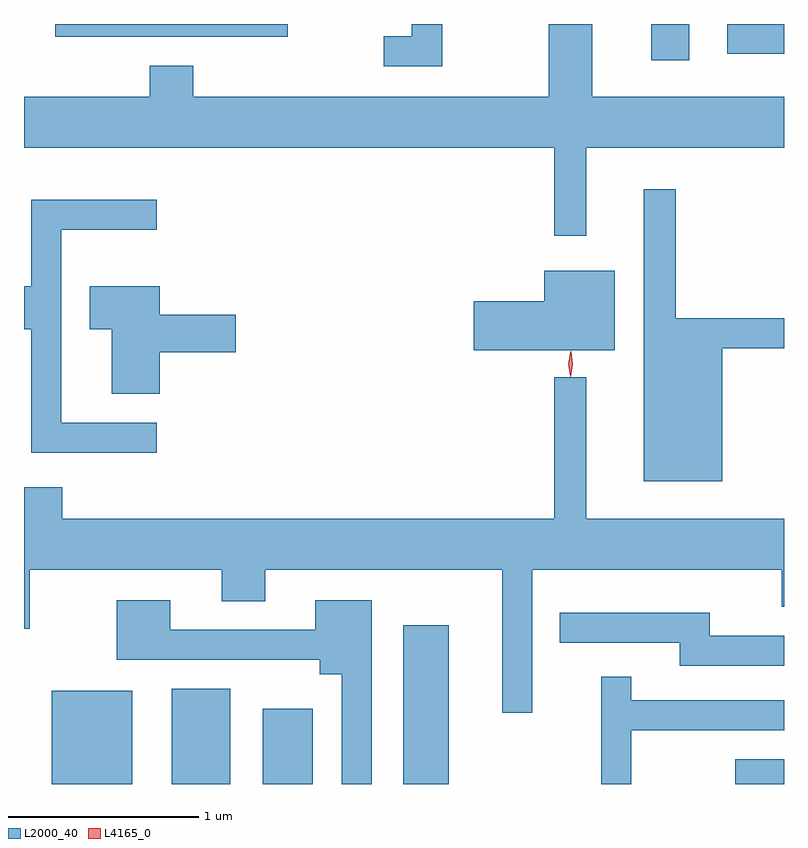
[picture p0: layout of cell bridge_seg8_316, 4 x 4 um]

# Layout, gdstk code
import gdstk
lib = gdstk.Library(unit=1e-6, precision=1e-09)
def R(c, l, rs):  # rectangles x0, y0, x1, y1
    for r in rs: c.add(gdstk.rectangle(r[:2], r[2:], *l))
def P(c, l, *ps):  # polygons
    for p in ps: c.add(gdstk.Polygon(p, *l))
L2000_40 = (2000, 40)
L4165_0 = (4165, 0)

bridge_seg8_316 = lib.new_cell('bridge_seg8_316')
R(bridge_seg8_316, L2000_40, [(1016.716,1939.628,1017.139,1940.119), (1017.346,1939.628,1017.654,1940.129), (1017.826,1939.628,1018.089,1940.024), (1018.566,1939.628,1018.804,1940.464), (1020.313,1939.628,1020.569,1939.759), (1019.871,1943.436,1020.069,1943.628), (1020.271,1943.471,1020.569,1943.628), (1016.733,1943.561,1017.958,1943.628)])
P(bridge_seg8_316, L2000_40, [(1018.769,1943.628),(1018.611,1943.628),(1018.611,1943.564),(1018.463,1943.564),(1018.463,1943.406),(1018.769,1943.406)],
  [(1019.529,1942.976),(1020.569,1942.976),(1020.569,1943.244),(1019.559,1943.244),(1019.559,1943.628),(1019.331,1943.628),(1019.331,1943.244),(1017.459,1943.244),(1017.459,1943.409),(1017.231,1943.409),(1017.231,1943.244),(1016.569,1943.244),(1016.569,1942.976),(1019.361,1942.976),(1019.361,1942.513),(1019.529,1942.513)],
  [(1020.244,1941.921),(1020.569,1941.921),(1020.569,1942.079),(1019.999,1942.079),(1019.999,1942.758),(1019.831,1942.758),(1019.831,1941.221),(1020.244,1941.221)],
  [(1017.268,1941.529),(1016.764,1941.529),(1016.764,1942.546),(1017.268,1942.546),(1017.268,1942.704),(1016.606,1942.704),(1016.606,1942.249),(1016.569,1942.249),(1016.569,1942.021),(1016.606,1942.021),(1016.606,1941.371),(1017.268,1941.371)],
  [(1019.679,1942.329),(1019.306,1942.329),(1019.306,1942.169),(1018.936,1942.169),(1018.936,1941.911),(1019.679,1941.911)],
  [(1017.284,1941.901),(1017.684,1941.901),(1017.684,1942.099),(1017.284,1942.099),(1017.284,1942.249),(1016.916,1942.249),(1016.916,1942.021),(1017.031,1942.021),(1017.031,1941.681),(1017.284,1941.681)],
  [(1019.244,1940.756),(1020.556,1940.756),(1020.556,1940.561),(1020.569,1940.561),(1020.569,1941.024),(1019.529,1941.024),(1019.529,1941.768),(1019.361,1941.768),(1019.361,1941.024),(1016.769,1941.024),(1016.769,1941.189),(1016.569,1941.189),(1016.569,1940.446),(1016.599,1940.446),(1016.599,1940.756),(1017.611,1940.756),(1017.611,1940.591),(1017.839,1940.591),(1017.839,1940.756),(1019.086,1940.756),(1019.086,1940.003),(1019.244,1940.003)],
  [(1018.399,1940.594),(1018.101,1940.594),(1018.101,1940.439),(1017.339,1940.439),(1017.339,1940.594),(1017.056,1940.594),(1017.056,1940.281),(1018.126,1940.281),(1018.126,1940.206),(1018.241,1940.206),(1018.241,1939.628),(1018.399,1939.628)],
  [(1020.569,1940.409),(1020.179,1940.409),(1020.179,1940.529),(1019.388,1940.529),(1019.388,1940.371),(1020.021,1940.371),(1020.021,1940.251),(1020.569,1940.251)],
  [(1019.764,1939.911),(1020.569,1939.911),(1020.569,1940.069),(1019.764,1940.069),(1019.764,1940.193),(1019.606,1940.193),(1019.606,1939.628),(1019.764,1939.628)])
P(bridge_seg8_316, L4165_0, [(1019.446,1941.77),(1019.446,1941.77),(1019.437,1941.838),(1019.447,1941.905),(1019.448,1941.906),(1019.448,1941.905),(1019.457,1941.838),(1019.447,1941.77)],
  [(1019.444,1941.773),(1019.434,1941.836),(1019.444,1941.899),(1019.444,1941.9),(1019.445,1941.899),(1019.454,1941.836),(1019.445,1941.773),(1019.445,1941.773)])

lib.write_gds('bridge_seg8_316.gds')
